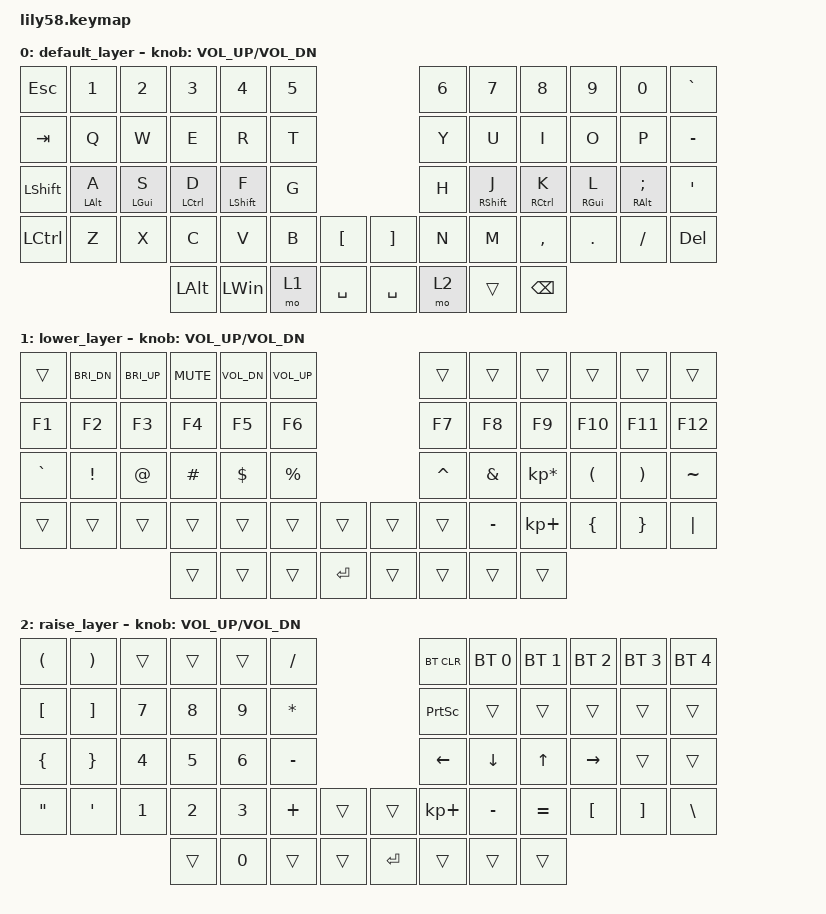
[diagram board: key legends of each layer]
/*
 * Оптимизированная раскладка для NeoVim
 */

#include <behaviors.dtsi>
#include <dt-bindings/zmk/bt.h>
#include <dt-bindings/zmk/keys.h>

/ {
    behaviors {
        hm: homerow_mods {
            compatible = "zmk,behavior-hold-tap";
            label = "HOMEROW_MODS";
            #binding-cells = <2>;
            tapping-term-ms = <150>;
            quick-tap-ms = <125>;
            flavor = "balanced";
            bindings = <&kp>, <&kp>;

            hold-trigger-key-positions = <0>;
            hold-trigger-on-release;
        };
    };

    combos { compatible = "zmk,combos"; };

    keymap {
        compatible = "zmk,keymap";

        default_layer {
            bindings = <
&kp ESC         &kp N1      &kp N2      &kp N3       &kp N4        &kp N5                          &kp N6  &kp N7        &kp N8         &kp N9      &kp N0         &kp GRAVE
&kp TAB         &kp Q       &kp W       &kp E        &kp R         &kp T                           &kp Y   &kp U         &kp I          &kp O       &kp P          &kp MINUS
&kp LEFT_SHIFT  &hm LALT A  &hm LGUI S  &hm LCTRL D  &hm LSHIFT F  &kp G                           &kp H   &hm RSHIFT J  &hm RCTRL K    &hm RGUI L  &hm RALT SEMI  &kp SQT
&kp LCTRL       &kp Z       &kp X       &kp C        &kp V         &kp B   &kp LBKT     &kp RBKT   &kp N   &kp M         &kp COMMA      &kp DOT     &kp FSLH       &kp DELETE
                                        &kp LALT     &kp LEFT_WIN  &mo 1   &kp SPACE    &kp SPACE  &mo 2   &trans        &kp BACKSPACE
            >;

            sensor-bindings = <&inc_dec_kp C_VOL_UP C_VOL_DN>;
        };

        lower_layer {
            bindings = <
&trans     &kp C_BRI_DN  &kp C_BRI_UP  &kp C_MUTE  &kp C_VOL_DN  &kp C_VOL_UP                        &trans     &trans     &trans           &trans    &trans    &trans
&kp F1     &kp F2        &kp F3        &kp F4      &kp F5        &kp F6                              &kp F7     &kp F8     &kp F9           &kp F10   &kp F11   &kp F12
&kp GRAVE  &kp EXCL      &kp AT        &kp HASH    &kp DOLLAR    &kp PRCNT                           &kp CARET  &kp AMPS   &kp KP_MULTIPLY  &kp LPAR  &kp RPAR  &kp TILDE
&trans     &trans        &trans        &trans      &trans        &trans        &trans        &trans  &trans     &kp MINUS  &kp KP_PLUS      &kp LBRC  &kp RBRC  &kp PIPE
                                       &trans      &trans        &trans        &kp RETURN    &trans  &trans     &trans     &trans
            >;

            sensor-bindings = <&inc_dec_kp C_VOL_UP C_VOL_DN>;
        };

        raise_layer {
            bindings = <
&kp LEFT_PARENTHESIS  &kp RIGHT_PARENTHESIS  &trans        &trans        &trans        &kp SLASH                           &bt BT_CLR       &bt BT_SEL 0    &bt BT_SEL 1  &bt BT_SEL 2  &bt BT_SEL 3  &bt BT_SEL 4
&kp LEFT_BRACKET      &kp RIGHT_BRACKET      &kp N7        &kp NUMBER_8  &kp N9        &kp ASTERISK                        &kp PRINTSCREEN  &trans          &trans        &trans        &trans        &trans
&kp LEFT_BRACE        &kp RIGHT_BRACE        &kp N4        &kp NUMBER_5  &kp NUMBER_6  &kp MINUS                           &kp LEFT_ARROW   &kp DOWN_ARROW  &kp UP_ARROW  &kp RIGHT     &trans        &trans
&kp DOUBLE_QUOTES     &kp SQT                &kp NUMBER_1  &kp NUMBER_2  &kp NUMBER_3  &kp PLUS      &trans    &trans      &kp KP_PLUS      &kp MINUS       &kp EQUAL     &kp LBKT      &kp RBKT      &kp BSLH
                                                           &trans        &kp NUMBER_0  &trans        &trans    &kp RETURN  &trans           &trans          &trans
            >;

            sensor-bindings = <&inc_dec_kp C_VOL_UP C_VOL_DN>;
        };
    };
};
